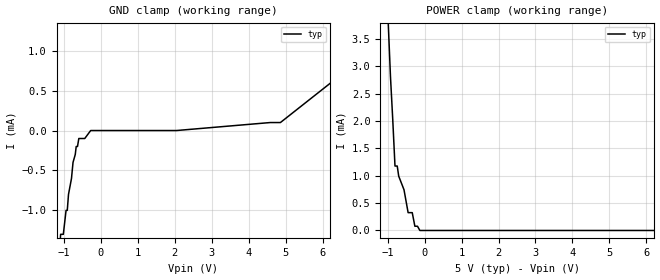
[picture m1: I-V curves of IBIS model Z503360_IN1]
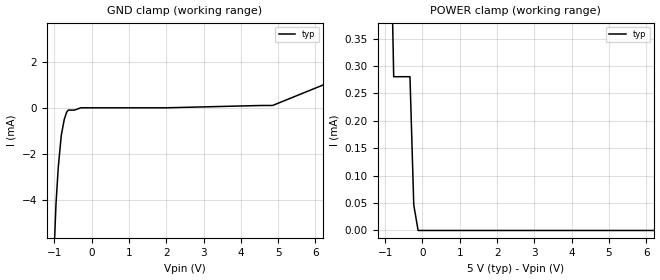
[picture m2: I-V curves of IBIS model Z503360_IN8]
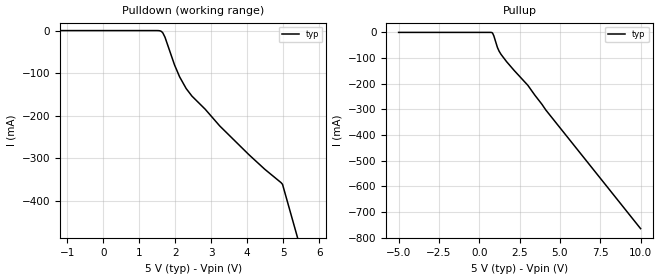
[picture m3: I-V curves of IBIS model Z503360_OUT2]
| YOU ARE ONLY AUTHORIZED TO USE THIS SOFTWARE
| ACCORDING TO LICENSOR'S LICENSE RESTRICTIONS.
[IBIS Ver] 3.1
[File Name] mc100e111fn_pecl.ibs
[File Rev] 2.0
[Source] Measured and created by ICX Technology
[Date] Friday 7/14/00 9:07:46 AM
[Copyright]
| (C) COPYRIGHT 1993-2000
| MENTOR GRAPHICS CORPORATION
| ICX STANDARD LIBRARY, ICX PROJECT MODELING,
| ICX CUSTOM MODELING, ICX VENDOR MODEL
| ALL RIGHTS RESERVED.
| THE FOLLOWING ARE TRADEMARKS OR SERVICE MARKS OF
| MENTOR GRAPHICS CORPORATION:ICX (R), ICX STANDARD
| LIBRARY(R), ICX PROJECT MODELING(R), ICX CUSTOM
| MODELING(R), qualityIBIS(TM), MODELVIEWER(TM),
| AND MODELEDITOR(TM)
| ALL COPIES OF SOFTWARE, INCLUDING BUT NOT LIMITED TO
| ANY MODIFICATIONS, ENHANCEMENTS OR DERIVATIVE WORKS,
| MUST CONTAIN ALL MENTOR GRAPHICS CORPORATION'S
| NOTICES AND LEGENDS, INCLUDING THOSE EMBEDDED IN
| SOFTWARE AND THOSE AFFIXED TO SOFTWARE MEDIUM
| AND CONTAINER, AS RECEIVED FROM MENTOR GRAPHICS
| CORPORATION.
|  ZAP Model Builder 2.7
[Component] MC100E111FN_PECL
[Manufacturer] OnSemiconductor
[Package]
| variable   typ   min   max
R_pkg  .083ohms NA NA
L_pkg  4.299nH NA NA
C_pkg  1.045pF NA NA
[Pin] signal_name  model_name  R_pin  L_pin C_pin
1 VCC POWER .08 3.94n .925p
2 _IN Z503360_IN1 .082 4.14n .995p
3 VBB NC .084 4.354n 1.065p
4 NC NC .086 4.583n 1.135p
5 _Q8 Z503360_OUT2 .086 4.583n 1.135p
6 Q8 Z503360_OUT3 .084 4.354n 1.065p
7 _Q7 Z503360_OUT2 .082 4.14n .995p
8 VCCO POWER .08 3.94n .925p
9 Q7 Z503360_OUT3 .082 4.14n .995p
10 _Q6 Z503360_OUT2 .084 4.354n 1.065p
11 Q6 Z503360_OUT3 .086 4.583n 1.135p
12 _Q5 Z503360_OUT4 .086 4.583n 1.135p
13 Q5 Z503360_OUT5 .084 4.354n 1.065p
14 _Q4 Z503360_OUT4 .082 4.14n .995p
15 VCCO POWER .08 3.94n .925p
16 Q4 Z503360_OUT5 .082 4.14n .995p
17 _Q3 Z503360_OUT4 .084 4.354n 1.065p
18 Q3 Z503360_OUT5 .086 4.583n 1.135p
19 _Q2 Z503360_OUT6 .086 4.583n 1.135p
20 Q2 Z503360_OUT7 .084 4.354n 1.065p
21 _Q1 Z503360_OUT6 .082 4.14n .995p
22 VCCO POWER .08 3.94n .925p
23 Q1 Z503360_OUT7 .082 4.14n .995p
24 _Q0 Z503360_OUT6 .084 4.354n 1.065p
25 Q0 Z503360_OUT7 .086 4.583n 1.135p
26 VEE POWER .086 4.583n 1.135p
27 _EN Z503360_IN8 .084 4.354n 1.065p
28 IN Z503360_IN9 .082 4.14n .995p
| Models and submodels in the file (9): Z503360_IN1 (Input_ECL), Z503360_IN8 (Input_ECL), Z503360_IN9 (Input_ECL), Z503360_OUT2 (Output_ECL), Z503360_OUT3 (Output_ECL), Z503360_OUT4 (Output_ECL), Z503360_OUT5 (Output_ECL), Z503360_OUT6 (Output_ECL), Z503360_OUT7 (Output_ECL)
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| (C) COPYRIGHT 1993-2000
| MENTOR GRAPHICS CORPORATION
| ICX STANDARD LIBRARY, ICX PROJECT MODELING,
| ICX CUSTOM MODELING, ICX VENDOR MODEL
| ALL RIGHTS RESERVED.
| THE FOLLOWING ARE TRADEMARKS OR SERVICE MARKS OF
| MENTOR GRAPHICS CORPORATION:ICX (R), ICX STANDARD
| LIBRARY(R), ICX PROJECT MODELING(R), ICX CUSTOM
| MODELING(R), qualityIBIS(TM), MODELVIEWER(TM),
| AND MODELEDITOR(TM)
| ALL COPIES OF SOFTWARE, INCLUDING BUT NOT LIMITED TO
| ANY MODIFICATIONS, ENHANCEMENTS OR DERIVATIVE WORKS,
| MUST CONTAIN ALL MENTOR GRAPHICS CORPORATION'S
| NOTICES AND LEGENDS, INCLUDING THOSE EMBEDDED IN
| SOFTWARE AND THOSE AFFIXED TO SOFTWARE MEDIUM
| AND CONTAINER, AS RECEIVED FROM MENTOR GRAPHICS
| CORPORATION.
| Model Application Version 1.89 2/18/99.
[Model] Z503360_IN1
Model_type Input_ECL
Vinl = 3.525V
Vinh = 3.835V
C_comp 4.000pF NA NA
| variable typ   min   max
[Voltage Range] 5.000V NA NA
[GND Clamp Reference] 0.000V NA NA
[POWER Clamp Reference] 5.000V NA NA
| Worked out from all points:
|   GND clamp passes 1 mA (typ) near -0.91 V on its own axis
|   POWER clamp passes 1 mA (typ) near -0.70 V on its own axis
[GND Clamp]
-5V       -29.3mA    NA         NA
-1.016V   -1.3mA     NA         NA
-942mV    -1mA       NA         NA
-909mV    -1mA       NA         NA
-876mV    -800uA     NA         NA
-795mV    -600uA     NA         NA
-754mV    -400uA     NA         NA
-667.8mV  -200uA     NA         NA
-597mV    -100uA     NA         NA
-275.7mV  0A         NA         NA
4.858V    100uA      NA         NA
10V       1.977mA    NA         NA
[POWER Clamp]
-5V       68.78mA    NA         NA
-924mV    2.811mA    NA         NA
-802mV    1.178mA    NA         NA
-741mV    1.178mA    NA         NA
-701mV    992.3uA    NA         NA
-558mV    744.5uA    NA         NA
-446.5mV  325.9uA    NA         NA
-335mV    325.9uA    NA         NA
-264mV    77.74uA    NA         NA
-193mV    77.74uA    NA         NA
-128.7mV  0A         NA         NA
10V       0A         NA         NA
| (C) COPYRIGHT 1993-2000
| MENTOR GRAPHICS CORPORATION
| ICX STANDARD LIBRARY, ICX PROJECT MODELING,
| ICX CUSTOM MODELING, ICX VENDOR MODEL
| ALL RIGHTS RESERVED.
| THE FOLLOWING ARE TRADEMARKS OR SERVICE MARKS OF
| MENTOR GRAPHICS CORPORATION:ICX (R), ICX STANDARD
| LIBRARY(R), ICX PROJECT MODELING(R), ICX CUSTOM
| MODELING(R), qualityIBIS(TM), MODELVIEWER(TM),
| AND MODELEDITOR(TM)
| ALL COPIES OF SOFTWARE, INCLUDING BUT NOT LIMITED TO
| ANY MODIFICATIONS, ENHANCEMENTS OR DERIVATIVE WORKS,
| MUST CONTAIN ALL MENTOR GRAPHICS CORPORATION'S
| NOTICES AND LEGENDS, INCLUDING THOSE EMBEDDED IN
| SOFTWARE AND THOSE AFFIXED TO SOFTWARE MEDIUM
| AND CONTAINER, AS RECEIVED FROM MENTOR GRAPHICS
| CORPORATION.
| Model Application Version 1.89 2/18/99.
[Model] Z503360_IN8
Model_type Input_ECL
Vinl = 3.525V
Vinh = 3.835V
C_comp 4.000pF NA NA
| variable typ   min   max
[Voltage Range] 5.000V NA NA
[GND Clamp Reference] 0.000V NA NA
[POWER Clamp Reference] 5.000V NA NA
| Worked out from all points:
|   GND clamp passes 1 mA (typ) near -0.79 V on its own axis
[GND Clamp]
-5V       -263.7mA   NA         NA
-1.059V   -8.4mA     NA         NA
-957mV    -4.2mA     NA         NA
-896mV    -2.6mA     NA         NA
-815mV    -1.2mA     NA         NA
-734mV    -500uA     NA         NA
-673mV    -200uA     NA         NA
-627.3mV  -100uA     NA         NA
-459mV    -100uA     NA         NA
-290.8mV  0A         NA         NA
4.849V    100uA      NA         NA
10V       3.484mA    NA         NA
[POWER Clamp]
-5V       15.07mA    NA         NA
-771.5mV  280.5uA    NA         NA
-335mV    280.5uA    NA         NA
-234mV    46.8uA     NA         NA
-117mV    0A         NA         NA
10V       0A         NA         NA
| (C) COPYRIGHT 1993-2000
| MENTOR GRAPHICS CORPORATION
| ICX STANDARD LIBRARY, ICX PROJECT MODELING,
| ICX CUSTOM MODELING, ICX VENDOR MODEL
| ALL RIGHTS RESERVED.
| THE FOLLOWING ARE TRADEMARKS OR SERVICE MARKS OF
| MENTOR GRAPHICS CORPORATION:ICX (R), ICX STANDARD
| LIBRARY(R), ICX PROJECT MODELING(R), ICX CUSTOM
| MODELING(R), qualityIBIS(TM), MODELVIEWER(TM),
| AND MODELEDITOR(TM)
| ALL COPIES OF SOFTWARE, INCLUDING BUT NOT LIMITED TO
| ANY MODIFICATIONS, ENHANCEMENTS OR DERIVATIVE WORKS,
| MUST CONTAIN ALL MENTOR GRAPHICS CORPORATION'S
| NOTICES AND LEGENDS, INCLUDING THOSE EMBEDDED IN
| SOFTWARE AND THOSE AFFIXED TO SOFTWARE MEDIUM
| AND CONTAINER, AS RECEIVED FROM MENTOR GRAPHICS
| CORPORATION.
| Model Application Version 1.89 2/18/99.
[Model] Z503360_OUT2
Model_type Output_ECL
Vref=3.000V
Rref=50.00ohms
Cref=0.000F
Vmeas=3.677V
C_comp 8.000pF NA NA
| variable typ   min   max
[Voltage Range] 5.000V NA NA
[POWER Clamp Reference] 5.000V NA NA
[Pullup Reference] 5.000V NA NA
[Pulldown Reference] 5.000V NA NA
[GND Clamp Reference] 0.000V NA NA
[GND Clamp]
-5V       0A         NA         NA
10V       0A         NA         NA
[Pulldown]
-5V       0A         NA         NA
1.572V    -500uA     NA         NA
1.654V    -5.3mA     NA         NA
1.714V    -15.5mA    NA         NA
1.978V    -80.3mA    NA         NA
2.12V     -108.5mA   NA         NA
2.303V    -136.1mA   NA         NA
2.465V    -154mA     NA         NA
3.236V    -223.9mA   NA         NA
4.048V    -291.5mA   NA         NA
4.982V    -361.1mA   NA         NA
10V       -1.867A    NA         NA
[Pullup]
-5V       0A         NA         NA
700mV     0A         NA         NA
822mV     -2.5mA     NA         NA
903mV     -13.4mA    NA         NA
1.126V    -58.8mA    NA         NA
1.349V    -85.6mA    NA         NA
2.161V    -148.2mA   NA         NA
3.013V    -206.3mA   NA         NA
4.129V    -302.7mA   NA         NA
10V       -764.8mA   NA         NA
[POWER Clamp]
-5V       0A         NA         NA
10V       0A         NA         NA
[Ramp]
| variable typ min max
dV/dt_r 474.7m/249.4p NA NA
dV/dt_f 474.7m/211.1p NA NA
R_load = 500.0Ohms
